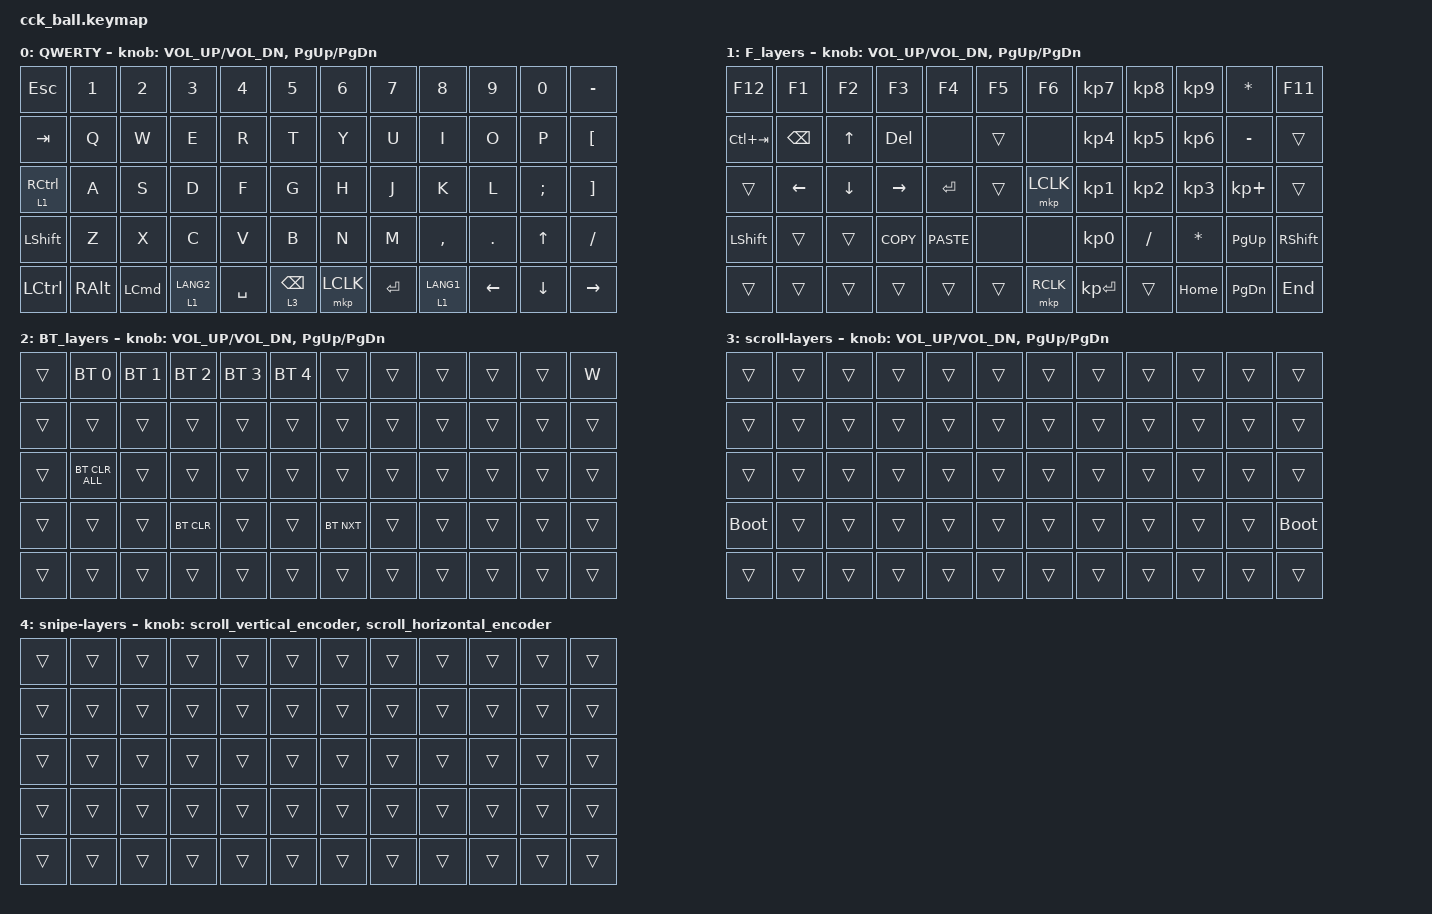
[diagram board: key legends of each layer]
#define ZMK_POINTING_DEFAULT_MOVE_VAL 1000 // 600
#define ZMK_POINTING_DEFAULT_SCRL_VAL 12   // 10

#include <input/processors.dtsi>
#include <zephyr/dt-bindings/input/input-event-codes.h>
#include <behaviors.dtsi>
#include <dt-bindings/zmk/bt.h>
#include <dt-bindings/zmk/keys.h>
#include <dt-bindings/zmk/pointing.h>

&mmv_input_listener { input-processors = <&zip_xy_scaler 2 1>; };

&msc_input_listener { input-processors = <&zip_scroll_scaler 2 1>; };

&msc {
    acceleration-exponent = <0>;      // 0
    time-to-max-speed-ms = <300>;       // 300
    delay-ms = <0>;                   // 0
};

&mmv {
    time-to-max-speed-ms = <500>;
    acceleration-exponent = <1>;
    trigger-period-ms = <16>;
};

&soft_off { hold-time-ms = <2000>; };

/ {
    // 上下滚动编码器行为

    scroll_vertical_encoder: scroll_vertical_encoder {
        compatible = "zmk,behavior-sensor-rotate";
        #sensor-binding-cells = <0>;
        bindings = <&msc SCRL_DOWN>, <&msc SCRL_UP>;

        tap-ms = <100>;
    };

    // 左右滚动编码器行为

    scroll_horizontal_encoder: scroll_horizontal_encoder {
        compatible = "zmk,behavior-sensor-rotate";
        #sensor-binding-cells = <0>;
        bindings = <&msc SCRL_LEFT>, <&msc SCRL_RIGHT>;

        tap-ms = <100>;
    };

    behaviors {
        // scroll_listener: scroll_listener {
        //     compatible = "zmk,input-behavior-listener";
        //     device = <&vtrackball>;  // ※動かない場合は &vtrackball などに変える必要があります
        //     layers = <3>;           // Layer 3 (scroll-layers) が有効な時だけ発動
        //     evt-type = <INPUT_EV_REL>;
        //     x-input-code = <INPUT_REL_HWHEEL>;
        //     y-input-code = <INPUT_REL_WHEEL>;
        //     y-invert;               // 下記「調整ポイント」参照
        //     scale-multiplier = <1>; // 感度調整 (値を大きくすると速くなる)
        // };
    };

    keymap {
        compatible = "zmk,keymap";

        QWERTY {
            bindings = <
&kp ESC              &kp N1         &kp N2            &kp N3       &kp N4     &kp N5           &kp N6     &kp N7     &kp N8       &kp N9          &kp N0          &kp MINUS
&kp TAB              &kp Q          &kp W             &kp E        &kp R      &kp T            &kp Y      &kp U      &kp I        &kp O           &kp P           &kp LEFT_BRACKET
&lt 1 RIGHT_CONTROL  &kp A          &kp S             &kp D        &kp F      &kp G            &kp H      &kp J      &kp K        &kp L           &kp SEMI        &kp RIGHT_BRACKET
&kp LEFT_SHIFT       &kp Z          &kp X             &kp C        &kp V      &kp B            &kp N      &kp M      &kp COMMA    &kp DOT         &kp UP_ARROW    &kp FSLH
&kp LEFT_CONTROL     &kp RIGHT_ALT  &kp LEFT_COMMAND  &lt 1 LANG2  &kp SPACE  &lt 3 BACKSPACE  &mkp LCLK  &kp ENTER  &lt 1 LANG1  &kp LEFT_ARROW  &kp DOWN_ARROW  &kp RIGHT_ARROW
            >;

            sensor-bindings = <&inc_dec_kp C_VOL_UP C_VOL_DN &inc_dec_kp PG_UP PG_DN>;
        };

        F_layers {
            bindings = <
&kp F12         &kp F1         &kp F2          &kp F3           &kp F4       &kp F5  &kp F6     &kp KP_NUMBER_7  &kp KP_NUMBER_8  &kp KP_NUMBER_9  &kp ASTERISK   &kp F11
&kp LC(TAB)     &kp BACKSPACE  &kp UP_ARROW    &kp DEL          &none        &trans  &none      &kp KP_NUMBER_4  &kp KP_NUMBER_5  &kp KP_NUMBER_6  &kp MINUS      &trans
&trans          &kp LEFT       &kp DOWN_ARROW  &kp RIGHT_ARROW  &kp ENTER    &trans  &mkp LCLK  &kp KP_NUMBER_1  &kp KP_NUMBER_2  &kp KP_NUMBER_3  &kp KP_PLUS    &trans
&kp LEFT_SHIFT  &trans         &trans          &kp K_COPY       &kp K_PASTE  &none   &none      &kp KP_NUMBER_0  &kp SLASH        &kp ASTRK        &kp PAGE_UP    &kp RIGHT_SHIFT
&trans          &trans         &trans          &trans           &trans       &trans  &mkp RCLK  &kp KP_ENTER     &trans           &kp HOME         &kp PAGE_DOWN  &kp END
            >;

            sensor-bindings = <&inc_dec_kp C_VOL_UP C_VOL_DN &inc_dec_kp PG_UP PG_DN>;
        };

        BT_layers {
            bindings = <
&trans  &bt BT_SEL 0    &bt BT_SEL 1  &bt BT_SEL 2  &bt BT_SEL 3  &bt BT_SEL 4  &trans      &trans  &trans  &trans  &trans  &kp W
&trans  &trans          &trans        &trans        &trans        &trans        &trans      &trans  &trans  &trans  &trans  &trans
&trans  &bt BT_CLR_ALL  &trans        &trans        &trans        &trans        &trans      &trans  &trans  &trans  &trans  &trans
&trans  &trans          &trans        &bt BT_CLR    &trans        &trans        &bt BT_NXT  &trans  &trans  &trans  &trans  &trans
&trans  &trans          &trans        &trans        &trans        &trans        &trans      &trans  &trans  &trans  &trans  &trans
            >;

            sensor-bindings = <&inc_dec_kp C_VOL_UP C_VOL_DN &inc_dec_kp PG_UP PG_DN>;
        };

        scroll-layers {
            bindings = <
&trans       &trans  &trans  &trans  &trans  &trans  &trans  &trans  &trans  &trans  &trans  &trans
&trans       &trans  &trans  &trans  &trans  &trans  &trans  &trans  &trans  &trans  &trans  &trans
&trans       &trans  &trans  &trans  &trans  &trans  &trans  &trans  &trans  &trans  &trans  &trans
&bootloader  &trans  &trans  &trans  &trans  &trans  &trans  &trans  &trans  &trans  &trans  &bootloader
&trans       &trans  &trans  &trans  &trans  &trans  &trans  &trans  &trans  &trans  &trans  &trans
            >;

            sensor-bindings = <&inc_dec_kp C_VOL_UP C_VOL_DN &inc_dec_kp PG_UP PG_DN>;
        };

        snipe-layers {
            bindings = <
&trans  &trans  &trans  &trans  &trans  &trans  &trans  &trans  &trans  &trans  &trans  &trans
&trans  &trans  &trans  &trans  &trans  &trans  &trans  &trans  &trans  &trans  &trans  &trans
&trans  &trans  &trans  &trans  &trans  &trans  &trans  &trans  &trans  &trans  &trans  &trans
&trans  &trans  &trans  &trans  &trans  &trans  &trans  &trans  &trans  &trans  &trans  &trans
&trans  &trans  &trans  &trans  &trans  &trans  &trans  &trans  &trans  &trans  &trans  &trans
            >;

            sensor-bindings =
                <&scroll_vertical_encoder>,
                // 编码器1：上下滚动,,,,,
                <&scroll_horizontal_encoder>;

            // 编码器2：左右滚动
        };
    };
};
